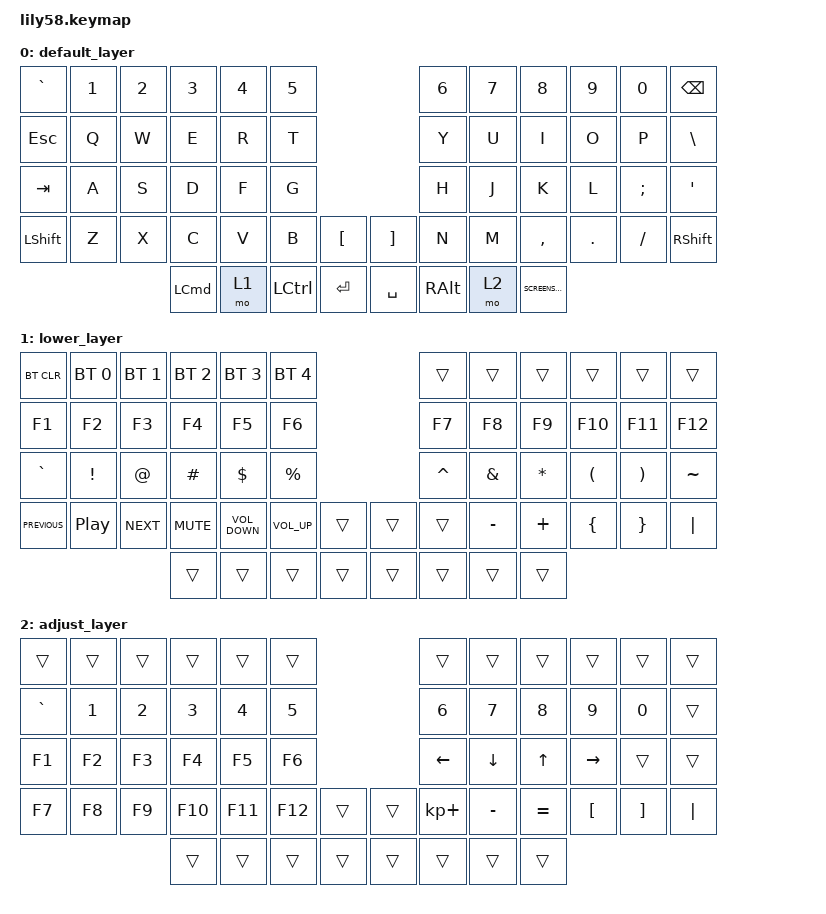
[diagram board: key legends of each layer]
/*
 * Copyright (c) 2020 The ZMK Contributors
 *
 * SPDX-License-Identifier: MIT
 */

#include <behaviors.dtsi>
#include <dt-bindings/zmk/bt.h>
#include <dt-bindings/zmk/keys.h>

/ {
    // Activate ADJUST layer by pressing raise and lower

    conditional_layers {
        compatible = "zmk,conditional-layers";

        adjust_layer {
            if-layers = <1 2>;
            then-layer = <3>;
        };
    };

    combos { compatible = "zmk,combos"; };

    keymap {
        compatible = "zmk,keymap";

        default_layer {
            // ------------------------------------------------------------------------------------------------------------
            // |  ESC  |  1  |  2  |  3   |  4   |  5   |                   |  6   |  7    |  8    |  9   |   0   |   `   |
            // |  TAB  |  Q  |  W  |  E   |  R   |  T   |                   |  Y   |  U    |  I    |  O   |   P   |   -   |
            // |  CTRL |  A  |  S  |  D   |  F   |  G   |                   |  H   |  J    |  K    |  L   |   ;   |   '   |
            // | SHIFT |  Z  |  X  |  C   |  V   |  B   |  MUTE  |  |RGB_TOG|  N   |  M    |  ,    |  .   |   /   | SHIFT |
            //                     | ALT  | GUI  | LOWER|  SPACE |  | ENTER | RAISE| BSPC  | GUI   |

            bindings = <
&kp GRAVE   &kp N1  &kp N2  &kp N3    &kp N4  &kp N5                             &kp N6         &kp N7  &kp N8             &kp N9   &kp N0    &kp BACKSPACE
&kp ESCAPE  &kp Q   &kp W   &kp E     &kp R   &kp T                              &kp Y          &kp U   &kp I              &kp O    &kp P     &kp BACKSLASH
&kp TAB     &kp A   &kp S   &kp D     &kp F   &kp G                              &kp H          &kp J   &kp K              &kp L    &kp SEMI  &kp SINGLE_QUOTE
&kp LSHIFT  &kp Z   &kp X   &kp C     &kp V   &kp B      &kp LBKT     &kp RBKT   &kp N          &kp M   &kp COMMA          &kp DOT  &kp FSLH  &kp RSHIFT
                            &kp LCMD  &mo 1   &kp LCTRL  &kp ENTER    &kp SPACE  &kp RIGHT_ALT  &mo 2   &kp K_SCREENSAVER
            >;
        };

        lower_layer {
            // ------------------------------------------------------------------------------------------------------------
            // | BTCLR | BT1 | BT2 |  BT3 |  BT4 |  BT5 |                   |      |       |       |      |       |       |
            // |  F1   |  F2 |  F3 |  F4  |  F5  |  F6  |                   |  F7  |  F8   |  F9   |  F10 |  F11  |  F12  |
            // |   `   |  !  |  @  |  #   |  $   |  %   |                   |  ^   |  &    |  *    |  (   |   )   |   ~   |
            // |EXTPWR |     |     |      |      |      |        |  |       |      |  _    |  +    |  {   |   }   |  "|"  |
            //                     |      |      |      |        |  |       |      |       |       |

            bindings = <
&bt BT_CLR      &bt BT_SEL 0      &bt BT_SEL 1  &bt BT_SEL 2  &bt BT_SEL 3       &bt BT_SEL 4                       &trans     &trans     &trans     &trans    &trans    &trans
&kp F1          &kp F2            &kp F3        &kp F4        &kp F5             &kp F6                             &kp F7     &kp F8     &kp F9     &kp F10   &kp F11   &kp F12
&kp GRAVE       &kp EXCL          &kp AT        &kp HASH      &kp DOLLAR         &kp PRCNT                          &kp CARET  &kp AMPS   &kp ASTRK  &kp LPAR  &kp RPAR  &kp TILDE
&kp C_PREVIOUS  &kp C_PLAY_PAUSE  &kp C_NEXT    &kp C_MUTE    &kp C_VOLUME_DOWN  &kp C_VOLUME_UP  &trans    &trans  &trans     &kp MINUS  &kp PLUS   &kp LBRC  &kp RBRC  &kp PIPE
                                                &trans        &trans             &trans           &trans    &trans  &trans     &trans     &trans
            >;
        };

        adjust_layer {
            // ----------------------------------------------------------------------------------------------------------------------------
            // | BTCLR  |  BT1    |  BT2    |   BT3   |   BT4   |   BT5   |                  |      |      |       |      |       |       |
            // | EXTPWR | RGB_HUD | RGB_HUI | RGB_SAD | RGB_SAI | RGB_EFF |                  |      |      |       |      |       |       |
            // |        | RGB_BRD | RGB_BRI |         |         |         |                  |      |      |       |      |       |       |
            // |        |         |         |         |         |         | RGB_TOG | |      |      |      |       |      |       |       |
            //                    |         |         |         |         |         | |      |      |      |       |      |

            bindings = <
&trans     &trans        &trans        &trans        &trans        &trans                     &trans          &trans          &trans        &trans            &trans             &trans
&kp GRAVE  &kp NUMBER_1  &kp NUMBER_2  &kp NUMBER_3  &kp NUMBER_4  &kp N5                     &kp NUMBER_6    &kp N7          &kp N8        &kp N9            &kp N0             &trans
&kp F1     &kp F2        &kp F3        &kp F4        &kp F5        &kp F6                     &kp LEFT_ARROW  &kp DOWN_ARROW  &kp UP_ARROW  &kp RIGHT_ARROW   &trans             &trans
&kp F7     &kp F8        &kp F9        &kp F10       &kp F11       &kp F12  &trans    &trans  &kp KP_PLUS     &kp MINUS       &kp EQUAL     &kp LEFT_BRACKET  &kp RIGHT_BRACKET  &kp PIPE
                                       &trans        &trans        &trans   &trans    &trans  &trans          &trans          &trans
            >;
        };

        extra1 { status = "reserved"; };

        extra2 { status = "reserved"; };

        extra3 { status = "reserved"; };

        extra4 { status = "reserved"; };

        extra5 { status = "reserved"; };
    };
};
